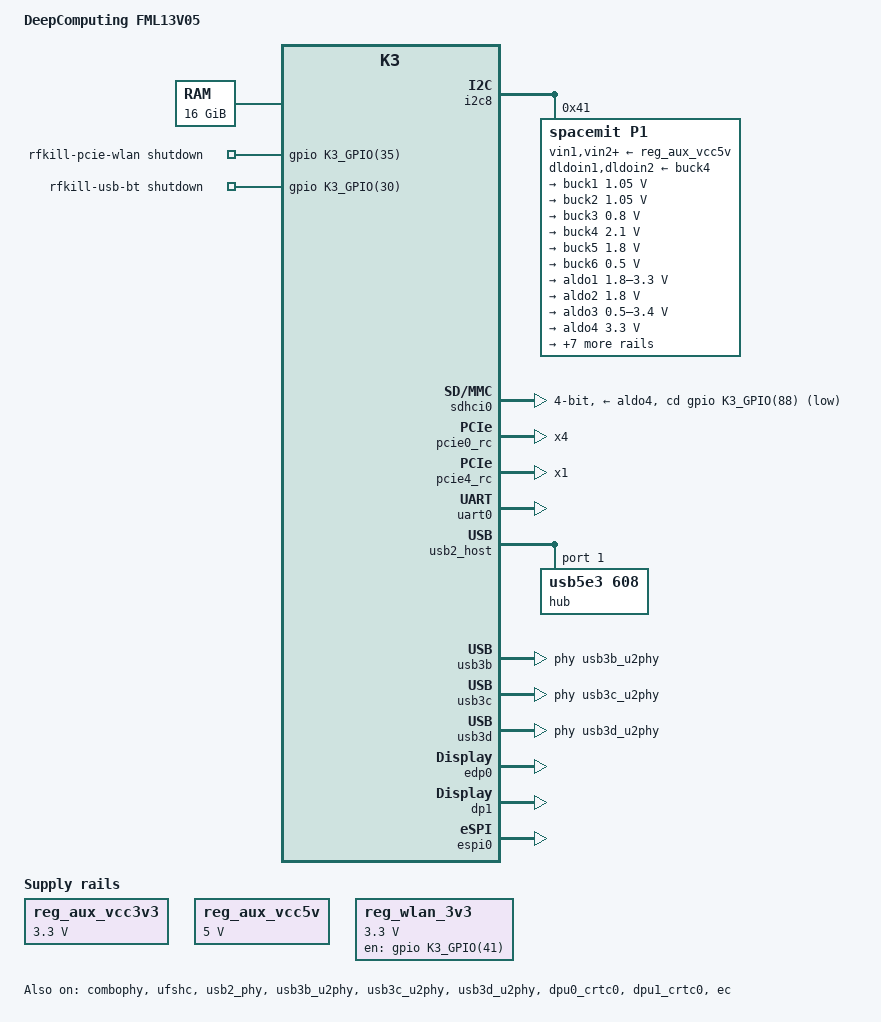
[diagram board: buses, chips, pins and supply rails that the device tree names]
// SPDX-License-Identifier: (GPL-2.0 OR MIT)
/*
 * Copyright (C) 2026 DeepComputing (HK) Limited
 */
#include <dt-bindings/gpio/gpio.h>
#include <dt-bindings/input/input.h>

#include "k3.dtsi"
#include "k3-display.dtsi"
#include "k3-pinctrl.dtsi"

/ {
	model = "DeepComputing FML13V05";
	compatible = "deepcomputing,fml13v05", "spacemit,k3";

	aliases {
		serial0 = &uart0;
	};

	chosen {
		stdout-path = "serial0:115200n8";
	};

	memory@100000000 {
		device_type = "memory";
		reg = <0x1 0x00000000 0x4 0x00000000>;
	};

	reg_aux_vcc3v3: regulator-aux-vcc3v3 {
		compatible = "regulator-fixed";
		regulator-name = "AUX_VCC3V3";
		regulator-min-microvolt = <3300000>;
		regulator-max-microvolt = <3300000>;
		regulator-always-on;
	};

	reg_aux_vcc5v: regulator-aux-vcc5v {
		compatible = "regulator-fixed";
		regulator-name = "AUX_VCC5V";
		regulator-min-microvolt = <5000000>;
		regulator-max-microvolt = <5000000>;
		regulator-always-on;
	};

	reg_wlan_3v3: regulator-wlan-3v3 {
		compatible = "regulator-fixed";
		regulator-name = "WLAN_3V3";
		regulator-min-microvolt = <3300000>;
		regulator-max-microvolt = <3300000>;
		gpio = <&gpio K3_GPIO(41) GPIO_ACTIVE_HIGH>;
		enable-active-high;
		regulator-boot-on;
		regulator-always-on;
	};

	rfkill-pcie-wlan {
		compatible = "rfkill-gpio";
		label = "rfkill-pcie-wlan";
		radio-type = "wlan";
		shutdown-gpios = <&gpio K3_GPIO(35) GPIO_ACTIVE_HIGH>;
	};

	rfkill-usb-bt {
		compatible = "rfkill-gpio";
		label = "rfkill-usb-bt";
		radio-type = "bluetooth";
		shutdown-gpios = <&gpio K3_GPIO(30) GPIO_ACTIVE_HIGH>;
	};
};

&i2c8 {
	pinctrl-names = "default";
	pinctrl-0 = <&i2c8_cfg>;
	status = "okay";

	p1@41 {
		compatible = "spacemit,p1";
		reg = <0x41>;
		interrupts = <64 IRQ_TYPE_LEVEL_HIGH>;
		vin1-supply = <&reg_aux_vcc5v>;
		vin2-supply = <&reg_aux_vcc5v>;
		vin3-supply = <&reg_aux_vcc5v>;
		vin4-supply = <&reg_aux_vcc5v>;
		vin5-supply = <&reg_aux_vcc5v>;
		vin6-supply = <&reg_aux_vcc5v>;
		aldoin-supply = <&reg_aux_vcc5v>;
		dldoin1-supply = <&buck4>;
		dldoin2-supply = <&buck4>;

		regulators {
			buck1: buck1 {
				regulator-min-microvolt = <1050000>;
				regulator-max-microvolt = <1050000>;
				regulator-ramp-delay = <5000>;
				regulator-always-on;
			};

			buck2: buck2 {
				regulator-min-microvolt = <1050000>;
				regulator-max-microvolt = <1050000>;
				regulator-ramp-delay = <5000>;
				regulator-always-on;
			};

			buck3: buck3 {
				regulator-min-microvolt = <800000>;
				regulator-max-microvolt = <800000>;
				regulator-ramp-delay = <5000>;
				regulator-always-on;
			};

			buck4: buck4 {
				regulator-min-microvolt = <2100000>;
				regulator-max-microvolt = <2100000>;
				regulator-ramp-delay = <5000>;
				regulator-always-on;
			};

			buck5: buck5 {
				regulator-min-microvolt = <1800000>;
				regulator-max-microvolt = <1800000>;
				regulator-ramp-delay = <5000>;
				regulator-always-on;
			};

			buck6: buck6 {
				regulator-min-microvolt = <500000>;
				regulator-max-microvolt = <500000>;
				regulator-ramp-delay = <5000>;
				regulator-always-on;
			};

			aldo1: aldo1 {
				regulator-min-microvolt = <1800000>;
				regulator-max-microvolt = <3300000>;
				regulator-always-on;
				regulator-boot-on;
			};

			aldo2: aldo2 {
				regulator-min-microvolt = <1800000>;
				regulator-max-microvolt = <1800000>;
				regulator-always-on;
				regulator-boot-on;
			};

			aldo3: aldo3 {
				regulator-min-microvolt = <500000>;
				regulator-max-microvolt = <3400000>;
			};

			aldo4: aldo4 {
				regulator-min-microvolt = <3300000>;
				regulator-max-microvolt = <3300000>;
				regulator-always-on;
				regulator-boot-on;
			};

			dldo1: dldo1 {
				regulator-min-microvolt = <1200000>;
				regulator-max-microvolt = <1200000>;
				regulator-always-on;
				regulator-boot-on;
			};

			dldo2: dldo2 {
				regulator-min-microvolt = <900000>;
				regulator-max-microvolt = <900000>;
				regulator-always-on;
				regulator-boot-on;
			};

			dldo3: dldo3 {
				regulator-min-microvolt = <800000>;
				regulator-max-microvolt = <800000>;
				regulator-always-on;
				regulator-boot-on;
			};

			dldo4: dldo4 {
				regulator-min-microvolt = <1800000>;
				regulator-max-microvolt = <1800000>;
				regulator-boot-on;
			};

			dldo5: dldo5 {
				regulator-min-microvolt = <1800000>;
				regulator-max-microvolt = <1800000>;
				regulator-always-on;
				regulator-boot-on;
			};

			dldo6: dldo6 {
				regulator-min-microvolt = <1800000>;
				regulator-max-microvolt = <1800000>;
				regulator-always-on;
				regulator-boot-on;
			};

			dldo7: dldo7 {
				regulator-min-microvolt = <1800000>;
				regulator-max-microvolt = <1800000>;
				regulator-always-on;
				regulator-boot-on;
			};
		};
	};
};

&combophy {
	spacemit,apmu = <&syscon_apmu 0x17>;
	status = "okay";
};

&sdhci0 {
	pinctrl-names = "default","uhs";
	pinctrl-0 = <&mmc1_cfg>;
	pinctrl-1 = <&mmc1_uhs_cfg>;
	bus-width = <4>;
	cd-gpios = <&gpio K3_GPIO(88) GPIO_ACTIVE_LOW>;
	no-mmc;
	no-sdio;
	disable-wp;
	cap-sd-highspeed;
	vmmc-supply = <&aldo4>;
	vqmmc-supply = <&aldo1>;
	sd-uhs-sdr25;
	sd-uhs-sdr50;
	sd-uhs-sdr104;
	status = "okay";
};

&pcie0_rc {
	pinctrl-names = "default";
	pinctrl-0 = <&pcie0_0_cfg>;
	num-lanes = <4>;
	status = "okay";

	pcie@0 {
		vpcie3v3-supply = <&reg_aux_vcc3v3>;
		phys = <&combophy 0 PHY_TYPE_PCIE>,
		       <&combophy 1 PHY_TYPE_PCIE>;
	};
};

&pcie4_rc {
	pinctrl-names = "default";
	pinctrl-0 = <&pcie4_0_cfg>;
	num-lanes = <1>;
	status = "okay";

	pcie@0 {
		vpcie3v3-supply = <&reg_aux_vcc3v3>;
		phys = <&combophy 5 PHY_TYPE_PCIE>;
	};
};

&uart0 {
	pinctrl-names = "default";
	pinctrl-0 = <&uart0_0_cfg>;
	status = "okay";
};

&ufshc {
	status = "okay";
};

&usb2_host {
	#address-cells = <1>;
	#size-cells = <0>;
	status = "okay";

	hub@1 {
		compatible = "usb5e3,608";
		reg = <1>;
	};
};

&usb2_phy {
	status = "okay";
};

&usb3b_u2phy {
	status = "okay";
};

&usb3b {
	phys = <&usb3b_u2phy>, <&combophy 2 PHY_TYPE_USB3>;
	phy-names = "usb2-phy", "usb3-phy";
	status = "okay";
};

&usb3c_u2phy {
	status = "okay";
};

&usb3c {
	phys = <&usb3c_u2phy>, <&combophy 3 PHY_TYPE_USB3>;
	phy-names = "usb2-phy", "usb3-phy";
	status = "okay";
};

&usb3d_u2phy {
	status = "okay";
};

&usb3d {
	phys = <&usb3d_u2phy>, <&combophy 4 PHY_TYPE_USB3>;
	phy-names = "usb2-phy", "usb3-phy";
	status = "okay";
};
/*
 * The FML13V05 routes the second SoC display path (DPU1/DP1) to the
 * external DisplayPort receptacle and the first one (DPU0/eDP0) to the
 * built-in 13.3" eDP panel. Enable both DPUs and their downstream
 * DisplayPort controllers.
 */

&dpu0_crtc0 {
	status = "okay";
};

&edp0 {
	pinctrl-names = "default";
	pinctrl-0 = <&edp0_1_cfg>;
	status = "okay";
};

&dpu1_crtc0 {
	status = "okay";
};

&dp1 {
	pinctrl-names = "default";
	pinctrl-0 = <&dp1_1_cfg>;
	status = "okay";
};

&espi0 {
	pinctrl-names = "default";
	pinctrl-0 = <&espi0_2_cfg>;
	status = "okay";
};

&ec {
	interrupt-parent = <&gpio>;
	interrupts = <1 11 IRQ_TYPE_EDGE_RISING>;
	status = "okay";

	keyboard-controller {
		compatible = "google,cros-ec-keyb";
		keypad,num-rows = <8>;
		keypad,num-columns = <16>;
		linux,keymap = <
		/* Row 0 */
		MATRIX_KEY(0x00, 0x00, KEY_C)           /* ID: 48 */
		MATRIX_KEY(0x00, 0x01, KEY_DELETE)      /* ID: 76 */
		MATRIX_KEY(0x00, 0x02, KEY_Q)           /* ID: 17 */
		MATRIX_KEY(0x00, 0x03, KEY_RIGHTALT)    /* ID: 62 */
		MATRIX_KEY(0x00, 0x05, KEY_X)           /* ID: 47 */
		MATRIX_KEY(0x00, 0x06, KEY_V)           /* ID: 49 */
		MATRIX_KEY(0x00, 0x07, KEY_M)           /* ID: 52 */
		MATRIX_KEY(0x00, 0x08, KEY_DOT)         /* ID: 54 */
		MATRIX_KEY(0x00, 0x09, KEY_RIGHTSHIFT)  /* ID: 57 */
		MATRIX_KEY(0x00, 0x0a, KEY_COMMA)       /* ID: 53 */
		MATRIX_KEY(0x00, 0x0c, KEY_RIGHTCTRL)   /* ID: 64 */
		MATRIX_KEY(0x00, 0x0d, KEY_SLASH)       /* ID: 55 */
		MATRIX_KEY(0x00, 0x0e, KEY_APOSTROPHE)  /* ID: 41 (' ) */

		/* Row 1 */
		MATRIX_KEY(0x01, 0x03, KEY_LEFTALT)     /* ID: 60 */
		MATRIX_KEY(0x01, 0x04, KEY_SPACE)       /* ID: 61 */
		MATRIX_KEY(0x01, 0x05, KEY_Z)           /* ID: 46 */
		MATRIX_KEY(0x01, 0x06, KEY_B)           /* ID: 50 */
		MATRIX_KEY(0x01, 0x07, KEY_N)           /* ID: 51 */
		MATRIX_KEY(0x01, 0x08, KEY_DOWN)        /* ID: 84-1 */
		MATRIX_KEY(0x01, 0x09, KEY_LEFTSHIFT)   /* ID: 44 */
		MATRIX_KEY(0x01, 0x0c, KEY_LEFTCTRL)    /* ID: 58 */
		MATRIX_KEY(0x01, 0x0d, KEY_UP)          /* ID: 83-1 */
		MATRIX_KEY(0x01, 0x0e, KEY_ENTER)       /* ID: 43 */
		MATRIX_KEY(0x01, 0x0f, KEY_F8)          /* ID: 119 */

		/* Row 2 */
		MATRIX_KEY(0x02, 0x02, KEY_FN)          /* ID: 59 */
		MATRIX_KEY(0x02, 0x04, KEY_E)           /* ID: 19 */
		MATRIX_KEY(0x02, 0x05, KEY_F2)          /* ID: 113 */
		MATRIX_KEY(0x02, 0x06, KEY_G)           /* ID: 35 */
		MATRIX_KEY(0x02, 0x07, KEY_H)           /* ID: 36 */
		MATRIX_KEY(0x02, 0x08, KEY_BACKSLASH)   /* ID: 29/42 */
		MATRIX_KEY(0x02, 0x0a, KEY_F7)          /* ID: 118 */
		MATRIX_KEY(0x02, 0x0d, KEY_MINUS)       /* ID: 12 */
		MATRIX_KEY(0x02, 0x0f, KEY_RIGHT)       /* ID: 89-1 */

		/* Row 3 */
		MATRIX_KEY(0x03, 0x01, KEY_LEFTMETA)    /* ID: 127 (Win) */
		MATRIX_KEY(0x03, 0x02, KEY_TAB)         /* ID: 16 */
		MATRIX_KEY(0x03, 0x04, KEY_F4)          /* ID: 115 */
		MATRIX_KEY(0x03, 0x05, KEY_F1)          /* ID: 112 */
		MATRIX_KEY(0x03, 0x06, KEY_T)           /* ID: 21 */
		MATRIX_KEY(0x03, 0x07, KEY_Y)           /* ID: 22 */
		MATRIX_KEY(0x03, 0x08, KEY_O)           /* ID: 25 */
		MATRIX_KEY(0x03, 0x0a, KEY_F6)          /* ID: 117 */
		MATRIX_KEY(0x03, 0x0b, KEY_F9)          /* ID: 120 */
		MATRIX_KEY(0x03, 0x0d, KEY_F12)         /* ID: 123 */

		/* Row 4 */
		MATRIX_KEY(0x04, 0x02, KEY_GRAVE)       /* ID: 1 (~) */
		MATRIX_KEY(0x04, 0x04, KEY_CAPSLOCK)    /* ID: 30 */
		MATRIX_KEY(0x04, 0x05, KEY_S)           /* ID: 32 */
		MATRIX_KEY(0x04, 0x06, KEY_5)           /* ID: 6 */
		MATRIX_KEY(0x04, 0x07, KEY_6)           /* ID: 7 */
		MATRIX_KEY(0x04, 0x08, KEY_F10)         /* ID: 121 */
		MATRIX_KEY(0x04, 0x0a, KEY_F5)          /* ID: 116 */
		MATRIX_KEY(0x04, 0x0d, KEY_0)           /* ID: 11 */
		MATRIX_KEY(0x04, 0x0e, KEY_EQUAL)       /* ID: 13 */

		/* Row 5 */
		MATRIX_KEY(0x05, 0x02, KEY_1)           /* ID: 2 */
		MATRIX_KEY(0x05, 0x04, KEY_3)           /* ID: 4 */
		MATRIX_KEY(0x05, 0x05, KEY_2)           /* ID: 3 */
		MATRIX_KEY(0x05, 0x06, KEY_4)           /* ID: 5 */
		MATRIX_KEY(0x05, 0x07, KEY_7)           /* ID: 8 */
		MATRIX_KEY(0x05, 0x08, KEY_9)           /* ID: 10 */
		MATRIX_KEY(0x05, 0x0a, KEY_8)           /* ID: 9 */
		MATRIX_KEY(0x05, 0x0b, KEY_102ND)       /* ID: 45 */
		MATRIX_KEY(0x05, 0x0d, KEY_P)           /* ID: 26 */
		MATRIX_KEY(0x05, 0x0e, KEY_BACKSPACE)   /* ID: 15 */

		/* Row 6 */
		MATRIX_KEY(0x06, 0x04, KEY_F3)          /* ID: 114 */
		MATRIX_KEY(0x06, 0x05, KEY_W)           /* ID: 18 */
		MATRIX_KEY(0x06, 0x06, KEY_R)           /* ID: 20 */
		MATRIX_KEY(0x06, 0x07, KEY_U)           /* ID: 23 */
		MATRIX_KEY(0x06, 0x08, KEY_F11)         /* ID: 122 */
		MATRIX_KEY(0x06, 0x0a, KEY_I)           /* ID: 24 */
		MATRIX_KEY(0x06, 0x0b, KEY_LEFT)        /* ID: 79-1 */
		MATRIX_KEY(0x06, 0x0d, KEY_LEFTBRACE)   /* ID: 27 ([) */
		MATRIX_KEY(0x06, 0x0e, KEY_RIGHTBRACE)  /* ID: 28 (]) */

		/* Row 7 */
		MATRIX_KEY(0x07, 0x02, KEY_A)           /* ID: 31 */
		MATRIX_KEY(0x07, 0x05, KEY_ESC)         /* ID: 110 */
		MATRIX_KEY(0x07, 0x06, KEY_F)           /* ID: 34 */
		MATRIX_KEY(0x07, 0x07, KEY_J)           /* ID: 37 */
		MATRIX_KEY(0x07, 0x08, KEY_L)           /* ID: 39 */
		MATRIX_KEY(0x07, 0x0a, KEY_K)           /* ID: 38 */
		MATRIX_KEY(0x07, 0x0d, KEY_SEMICOLON)   /* ID: 40 */
		MATRIX_KEY(0x07, 0x0e, KEY_D)           /* ID: 33 */

		/*
		 * Fn layer (row + 8):
		 *  F1..F12 -> media/system keys when Fn is held.
		 */
		MATRIX_KEY(0x08, 0x01, KEY_INSERT)        /* Fn+Delete = Insert */
		MATRIX_KEY(0x09, 0x08, KEY_PAGEDOWN)      /* Fn+Down */
		MATRIX_KEY(0x09, 0x0d, KEY_PAGEUP)        /* Fn+Up */
		MATRIX_KEY(0x09, 0x0f, KEY_BRIGHTNESSUP)  /* Fn+F8 */
		MATRIX_KEY(0x0a, 0x05, KEY_VOLUMEDOWN)    /* Fn+F2 */
		MATRIX_KEY(0x0a, 0x0a, KEY_BRIGHTNESSDOWN) /* Fn+F7 */
		MATRIX_KEY(0x0a, 0x0f, KEY_END)           /* Fn+Right */
		MATRIX_KEY(0x0b, 0x04, KEY_PREVIOUSSONG)  /* Fn+F4 */
		MATRIX_KEY(0x0b, 0x05, KEY_MUTE)          /* Fn+F1 */
		MATRIX_KEY(0x0b, 0x0a, KEY_NEXTSONG)      /* Fn+F6 */
		MATRIX_KEY(0x0b, 0x0b, KEY_SWITCHVIDEOMODE) /* Fn+F9 */
		MATRIX_KEY(0x0b, 0x0d, KEY_CONFIG)        /* Fn+F12 */
		MATRIX_KEY(0x0c, 0x08, KEY_RFKILL)        /* Fn+F10 */
		MATRIX_KEY(0x0c, 0x0a, KEY_PLAYPAUSE)     /* Fn+F5 */
		MATRIX_KEY(0x0e, 0x04, KEY_VOLUMEUP)      /* Fn+F3 */
		MATRIX_KEY(0x0e, 0x08, KEY_SYSRQ)         /* Fn+F11 */
		MATRIX_KEY(0x0e, 0x0b, KEY_HOME)          /* Fn+Left */
		>;
	};
};
